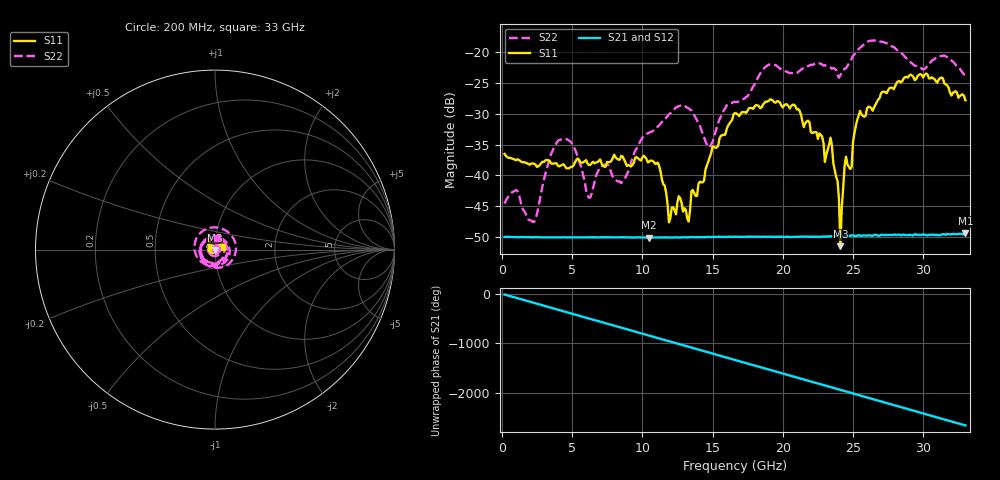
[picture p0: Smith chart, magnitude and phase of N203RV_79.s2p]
# GHZ S RI R 50
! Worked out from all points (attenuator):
!   329 points, 200 MHz to 33 GHz, reference 50 ohm
!   highest |S21| = -49.42 dB at 33 GHz (marker M1); lowest = -50.1 dB at 10.5 GHz (marker M2)
!   lowest |S11| = -51.5 dB at 24.1 GHz (marker M3), VSWR 1.01, Z = 50 - j0.263 ohm
!   |S11| at or under -10 dB: start of sweep to end of sweep
!   |S22| runs from -47.5 to -18.1 dB; largest |S21 - S12| = 7.2e-05
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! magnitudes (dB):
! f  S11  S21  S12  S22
! 200 MHz  -36.5  -50.0  -50.0  -44.6
! 2.3 GHz  -38.1  -50.0  -50.0  -47.5
! 4.1 GHz  -38.5  -50.1  -50.0  -34.2
! 5.7 GHz  -37.9  -50.0  -50.0  -39.1
! 8.5 GHz  -36.8  -50.0  -50.0  -41.2
! 10.5 GHz  -37.7  -50.1  -50.1  -33.0
! 11.2 GHz  -38.5  -50.1  -50.0  -31.9
! 11.9 GHz  -47.6  -50.1  -50.0  -30.1
! 12.6 GHz  -43.4  -50.1  -50.0  -28.8
! 13.3 GHz  -47.5  -50.0  -50.0  -29.1
! 14.8 GHz  -37.0  -50.0  -50.0  -35.4
! 16.6 GHz  -29.9  -49.9  -49.9  -28.1
! 22.1 GHz  -33.1  -50.0  -49.9  -22.1
! 23 GHz  -37.8  -49.9  -49.9  -22.1
! 23.4 GHz  -33.9  -49.9  -49.9  -22.5
! 23.9 GHz  -40.9  -49.8  -49.8  -23.7
! 24.1 GHz  -51.5  -49.9  -49.8  -23.7
! 24.4 GHz  -38.5  -49.8  -49.7  -22.7
! 24.9 GHz  -38.6  -49.7  -49.8  -21.1
! 25.5 GHz  -29.5  -49.8  -49.8  -19.3
! 27.6 GHz  -25.8  -49.6  -49.7  -18.8
! 33 GHz  -27.8  -49.4  -49.4  -23.7
